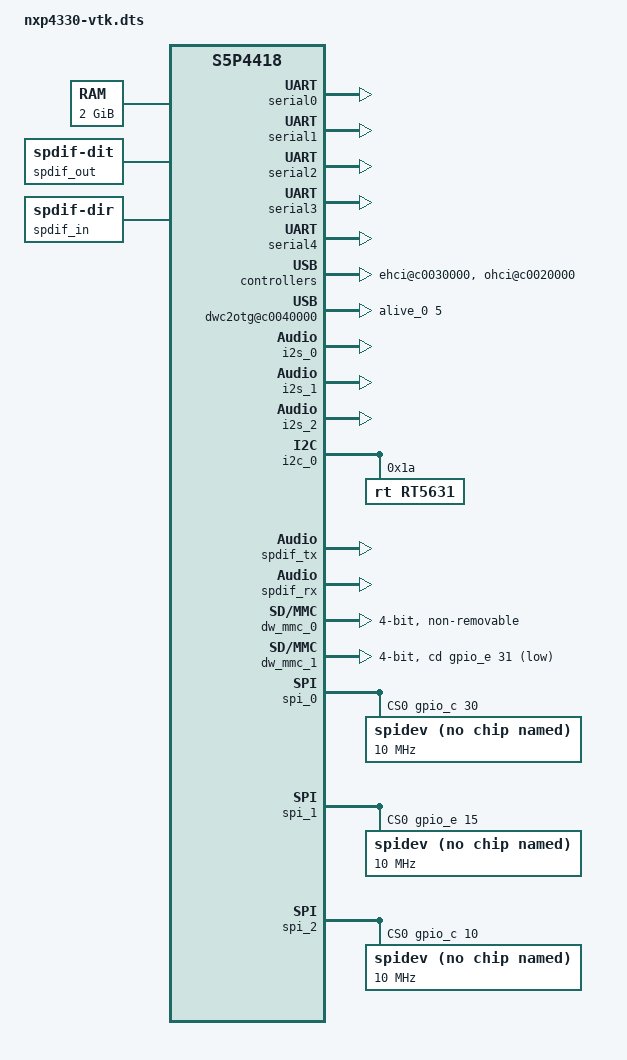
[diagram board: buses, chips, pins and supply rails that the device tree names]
/*
 * Copyright (C) 2016  Nexell Co., Ltd.
 * Author: Youngbok, Park <ybpark@nexell.co.kr>
 *
 * This program is free software; you can redistribute it and/or
 * modify it under the terms of the GNU General Public License
 * as published by the Free Software Foundation; either version 2
 * of the License, or (at your option) any later version.
 *
 * This program is distributed in the hope that it will be useful,
 * but WITHOUT ANY WARRANTY; without even the implied warranty of
 * MERCHANTABILITY or FITNESS FOR A PARTICULAR PURPOSE.  See the
 * GNU General Public License for more details.
 *
 * You should have received a copy of the GNU General Public License
 * along with this program.  If not, see <http://www.gnu.org/licenses/>.
 */

/dts-v1/;
#include <dt-bindings/interrupt-controller/irq.h>
#include <dt-bindings/gpio/gpio.h>
#include <dt-bindings/input/input.h>
#include "nxp4330.dtsi"

/ {
	memory {
		device_type = "memory";
		reg = <0x40000000 0x80000000>;
	};

	psci {
		compatible = "arm,psci-0.2";
		method = "smc";
	};

	soc {
		#include "s5p4418-pinctrl.dtsi"
		clocks {
			uart0:uart@c00a9000 { clock-frequency = <147500000>; };
			uart1:uart@c00a8000 { clock-frequency = <100000000>; };
			uart2:uart@c00aa000 { clock-frequency = <100000000>; };
			uart3:uart@c00ab000 { clock-frequency = <100000000>; };
			uart4:uart@c006e000 { clock-frequency = <100000000>; };
			vip0:vip@c00c1000 { clock-frequency = <300000000>; };
			vip1:vip@c00c2000 { src-force = <5>; };
			pwm0:pwm0@c00ba000 {
				clk-input = <I_PLL2>;
				clock-frequency = <10000000>;
			};
			pwm1:pwm1@c00ba000 {
				clk-input = <I_PLL2>;
				clock-frequency = <10000000>;
			};
			pwm2:pwm2@c00be000 {
				clk-input = <I_PLL2>;
				clock-frequency = <10000000>;
			};
			pwm3:pwm3@c00be000 {
				clk-input = <I_PLL2>;
				clock-frequency = <10000000>;
			};

			spi0:spi@c00ac000 {
				clock-frequency = <10000000>;
			};
			spi1:spi@c00ad000 {
				clock-frequency = <10000000>;
			};

			spi2:spi@c00a7000 {
				clock-frequency = <10000000>;
			};
		};

		pinctrl@C0010000 {
			i2s2_bus:i2s2 {
				/delete-node/ i2s2-mclk;
			};
		};

		l2:l2-cache-controller@cf000000 {
			arm,prefetch-offset = <7>;
			prefetch-data = <1>;
			prefetch-instr = <1>;
			arm,tag-latency = <3 4 3>;
			arm,data-latency = <3 4 3>;
		};

		serial0:serial@c00a1000 {
			status ="okay";
		};

		serial1:serial@c00a0000 {
			status ="okay";
		};

		serial2:serial@c00a2000 {
			status ="okay";
		};

		serial3:serial@c00a3000 {
			status ="okay";
		};

		serial4:serial@c006d000 {
			status ="okay";
		};

		rtc@c0010c00 {
			status = "okay";
		};

		nexell_usbphy: nexell-usbphy@c0012000 {
			status = "okay";
		};

		ehci@c0030000 {
			status = "okay";
			port@0 {
				status = "okay";
			};
		};

		ohci@c0020000 {
			status = "okay";
			port@0 {
				status = "okay";
			};
		};

		dwc2otg@c0040000 {
			gpios = <&alive_0 5 0>;
			status = "okay";
		};

		i2s_0:i2s@c0055000 {
			#sound-dai-cells = <1>;
			master-mode = <1>;
			mclk-in = <0>;
			trans-mode = <0>;
			frame-bit = <32>;
			sample-rate = <48000>;
			pre-supply-mclk = <1>;
			status = "okay";
		};

		i2s_1:i2s@c0056000 {
			#sound-dai-cells = <1>;
			master-mode = <1>;
			mclk-in = <1>;
			trans-mode = <0>;
			frame-bit = <32>;
			sample-rate = <48000>;
			pre-supply-mclk = <0>;
			status = "okay";
		};

		i2s_2:i2s@c0057000 {
			#sound-dai-cells = <1>;
			master-mode = <0>;
			mclk-in = <1>;
			trans-mode = <0>;
			frame-bit = <32>;
			sample-rate = <48000>;
			pre-supply-mclk = <0>;
			status = "okay";
		};

		i2c_0:i2c@c00a4000 {
			#address-cells = <1>;
			#size-cells = <0>;
			status = "okay";

			rt5631: rt5631@1a {
				#sound-dai-cells = <0>;
				compatible = "rt,rt5631";
				reg = <0x1a>;
			};
		};

		amba {
			pl08xdma0:pl08xdma@c0000000 {
				use_isr;
			};

			pl08xdma1:pl08xdma@c0001000 {
				use_isr;
			};
		};

		spdif_tx: spdiftx@c0059000 {
			#sound-dai-cells = <1>;
			pcm-bit = <16>;
			sample_rate = <48000>;
			status = "okay";
		};

		spdif_rx: spdifrx@c005a000 {
			#sound-dai-cells = <1>;
			status = "okay";
		};

	};	/*** soc ***/

	sound {
		compatible = "nexell,simple-audio-card";
		simple-audio-card,name = "nxp4330 vtk Audio";
		simple-audio-card,mclk-fs = <256>;
		simple-audio-card,widgets =
		    "Headphone", "Out Jack",
		    "Microphone", "In Jack";
		simple-audio-card,routing =
		    "Out Jack", "HPOL",
		    "Out Jack", "HPOR",
		    "IN2P", "In Jack",
		    "IN2P", "In Jack";
		status = "okay";


		simple-audio-card,dai-link@0 {
			format = "i2s";
			cpu {
				sound-dai = <&i2s_0 0>;
			};

			codec {
				sound-dai = <&snd_null>;
			};
		};

		simple-audio-card,dai-link@1 {
			format = "i2s";
			cpu {
				sound-dai = <&i2s_1 0>;
			};

			codec {
				sound-dai = <&rt5631>;
			};
		};

		simple-audio-card,dai-link@2 {
			format = "i2s";
			cpu {
				sound-dai = <&i2s_2 0>;
			};

			codec {
				sound-dai = <&snd_null>;
			};
		};

		simple-audio-card,dai-link@3 {
			format = "spdif";
			cpu {
				sound-dai = <&spdif_tx 0>;
			};

			codec {
				sound-dai = <&spdif_out>;
			};
		};

		simple-audio-card,dai-link@4 {
			format = "spdif";
			cpu {
				sound-dai = <&spdif_rx 0>;
			};

			codec {
				sound-dai = <&spdif_in>;
			};
		};
	};

	snd_null: snd_null@10 {
		#sound-dai-cells = <0>;
		compatible = "nexell,snd-null";
		#address-cells = <1>;
		#size-cells = <0>;
		reg = <0 0>;
        };

	spdif_out: spdif-out {
		#sound-dai-cells = <0>;
		compatible = "linux,spdif-dit";
	};

	spdif_in: spdif-in {
		#sound-dai-cells = <0>;
		compatible = "linux,spdif-dir";
	};
};

&dw_mmc_0 {
	num-slots = <1>;
	bus-width = <4>;
	cap-mmc-highspeed;
	broken-cd;
	non-removable;
	clock-frequency = <100000000>;
	card-detect-delay = <200>;
	disable-wp;
	nexell,drive_dly = <0x0>;
	nexell,drive_shift = <0x03>;
	nexell,sample_dly = <0x00>;
	nexell,sample_shift = <0x02>;
	status = "okay";
};

&dw_mmc_1 {
	num-slots = <1>;
	bus-width = <4>;
	cap-sd-highspeed;
	clock-frequency = <100000000>;
	card-detect-delay = <200>;
	disable-wp;
	cd-gpios = <&gpio_e 31 0>;
	cd-inverted;
	nexell,drive_dly = <0x0>;
	nexell,drive_shift = <0x02>;
	nexell,sample_dly = <0x00>;
	nexell,sample_shift = <0x01>;
	status = "okay";
};

&spi_0 {
	status = "okay";
	cs-gpios = <&gpio_c 30 0>;
	spidev@0 {
		compatible = "linux,spidev";
		pl022,com-mode = <0x1>;
		pl022,rx-level-trig = <1>;
		pl022,tx-level-trig = <1>;
		reg = <0>;
		spi-max-frequency = <10000000>;
		controller-data {
			samsung,spi-feedback-delay = <0>;
		};
	};
};

&spi_1 {
	status = "okay";
	cs-gpios = <&gpio_e 15 0>;
	spidev@0 {
		compatible = "linux,spidev";
		pl022,com-mode = <0x1>;
		pl022,rx-level-trig = <1>;
		pl022,tx-level-trig = <1>;
		reg = <0>;
		spi-max-frequency = <10000000>;
		controller-data {
			samsung,spi-feedback-delay = <0>;
		};
	};
};

&spi_2 {
	status = "okay";
	cs-gpios = <&gpio_c 10 0>;
	spidev@0 {
		compatible = "linux,spidev";
		pl022,com-mode = <0x1>;
		pl022,rx-level-trig = <1>;
		pl022,tx-level-trig = <1>;
		reg = <0>;
		spi-max-frequency = <10000000>;
		controller-data {
			samsung,spi-feedback-delay = <0>;
		};
	};
};
